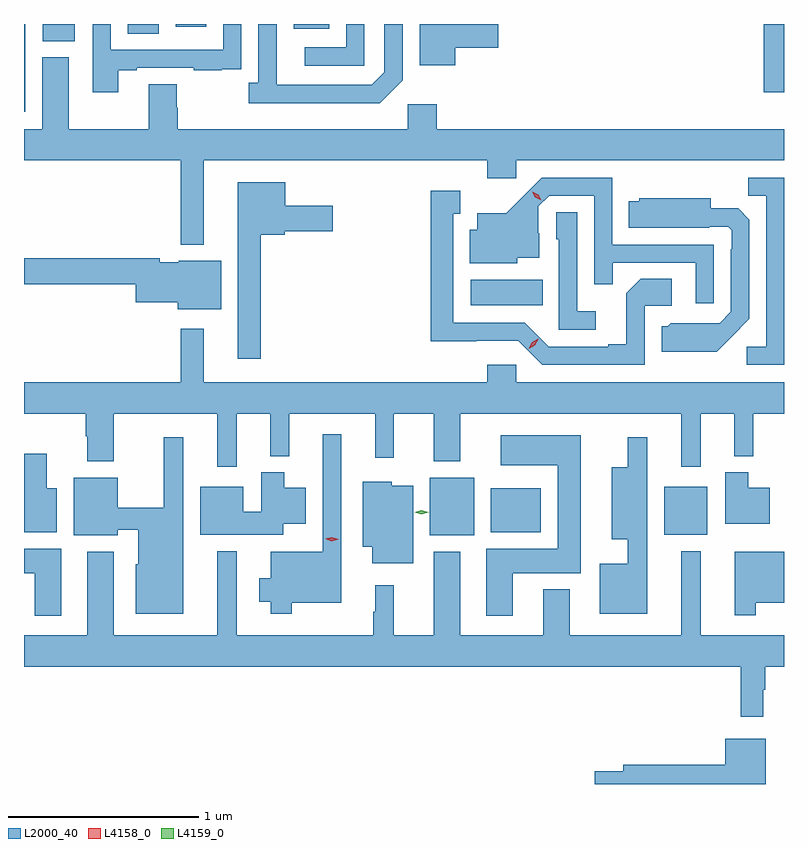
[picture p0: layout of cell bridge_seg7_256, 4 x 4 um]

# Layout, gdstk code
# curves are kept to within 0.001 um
import gdstk
lib = gdstk.Library(unit=1e-6, precision=1e-09)
def R(c, l, rs):  # rectangles x0, y0, x1, y1
    for r in rs: c.add(gdstk.rectangle(r[:2], r[2:], *l))
def P(c, l, *ps):  # polygons
    for p in ps: c.add(gdstk.Polygon(p, *l))
L2000_40 = (2000, 40)
L4158_0 = (4158, 0)
L4159_0 = (4159, 0)

bridge_seg7_256 = lib.new_cell('bridge_seg7_256')
R(bridge_seg7_256, L2000_40, [(203.54,1071.902,203.773,1072.207), (204.773,1071.905,205,1072.159), (203.861,1071.92,204.124,1072.15), (203.754,1073.114,204.134,1073.248), (201.404,1074.132,201.411,1074.594), (205.297,1074.234,205.404,1074.594), (201.503,1074.503,201.67,1074.594), (201.95,1074.544,202.114,1074.594), (202.823,1074.569,203.011,1074.594), (202.202,1074.579,202.363,1074.594)])
P(bridge_seg7_256, L2000_40, [(203.397,1074.297),(203.397,1074.594),(203.301,1074.594),(203.301,1074.339),(203.235,1074.273),(202.735,1074.273),(202.734,1074.594),(202.638,1074.594),(202.638,1074.286),(202.587,1074.286),(202.587,1074.176),(203.276,1074.176)],
  [(203.196,1074.594),(203.1,1074.594),(203.1,1074.471),(202.881,1074.471),(202.881,1074.375),(203.196,1074.375)],
  [(203.674,1074.469),(203.899,1074.469),(203.899,1074.594),(203.486,1074.594),(203.486,1074.377),(203.674,1074.377)],
  [(201.901,1074.351),(201.997,1074.351),(201.997,1074.363),(202.297,1074.363),(202.297,1074.351),(202.445,1074.351),(202.445,1074.357),(202.547,1074.357),(202.547,1074.466),(202.548,1074.466),(202.548,1074.594),(202.452,1074.594),(202.452,1074.459),(201.861,1074.459),(201.861,1074.594),(201.765,1074.594),(201.765,1074.234),(201.901,1074.234)],
  [(202.351,1073.876),(203.843,1073.876),(203.843,1073.781),(203.994,1073.781),(203.994,1073.876),(205.404,1073.876),(205.404,1074.04),(203.576,1074.04),(203.576,1074.172),(203.424,1074.172),(203.424,1074.04),(202.214,1074.04),(202.214,1074.153),(202.209,1074.153),(202.209,1074.278),(202.061,1074.278),(202.061,1074.04),(201.64,1074.04),(201.64,1074.418),(201.5,1074.418),(201.5,1074.04),(201.404,1074.04),(201.404,1073.876),(202.23,1073.876),(202.23,1073.432),(202.351,1073.432)],
  [(205.035,1073.433),(204.501,1073.433),(204.501,1073.784),(204.128,1073.784),(203.941,1073.599),(203.789,1073.599),(203.789,1073.512),(203.75,1073.512),(203.75,1073.336),(204,1073.336),(204,1073.363),(204.115,1073.363),(204.115,1073.492),(204.111,1073.492),(204.111,1073.634),(204.168,1073.691),(204.405,1073.691),(204.405,1073.224),(204.503,1073.224),(204.503,1073.337),(204.939,1073.337),(204.939,1073.124),(205.035,1073.124)],
  [(205.404,1073.784),(205.216,1073.784),(205.216,1073.689),(205.311,1073.689),(205.311,1072.896),(205.209,1072.896),(205.209,1072.8),(205.404,1072.8)],
  [(202.651,1073.486),(202.776,1073.486),(202.776,1073.504),(203.029,1073.504),(203.029,1073.638),(202.78,1073.638),(202.78,1073.761),(202.529,1073.761),(202.529,1072.833),(202.651,1072.833)],
  [(204.672,1073.112),(204.814,1073.112),(204.814,1073.252),(204.649,1073.252),(204.573,1073.176),(204.573,1072.909),(204.479,1072.909),(204.479,1072.896),(204.165,1072.896),(204.039,1073.022),(203.662,1073.022),(203.662,1073.595),(203.701,1073.595),(203.701,1073.716),(203.544,1073.716),(203.544,1072.925),(204.006,1072.926),(204.132,1072.8),(204.672,1072.8)],
  [(205.129,1072.949),(205.221,1073.042),(205.221,1073.564),(205.162,1073.623),(205.018,1073.623),(205.018,1073.677),(204.642,1073.677),(204.642,1073.662),(204.586,1073.662),(204.586,1073.522),(205.01,1073.522),(205.01,1073.526),(205.11,1073.526),(205.128,1073.508),(205.128,1073.408),(205.125,1073.408),(205.125,1073.079),(205.065,1073.019),(204.808,1073.02),(204.792,1073.004),(204.761,1073.004),(204.761,1072.868),(205.049,1072.868)],
  [(204.412,1073.083),(204.315,1073.083),(204.315,1073.603),(204.204,1073.603),(204.204,1073.46),(204.219,1073.46),(204.219,1072.986),(204.412,1072.986)],
  [(202.441,1073.347),(202.218,1073.347),(202.218,1073.341),(202.118,1073.341),(202.118,1073.36),(201.404,1073.36),(201.404,1073.224),(201.992,1073.224),(201.992,1073.129),(202.214,1073.129),(202.214,1073.093),(202.441,1073.093)],
  [(202.525,1072.544),(202.7,1072.544),(202.7,1072.319),(202.799,1072.319),(202.799,1072.544),(203.252,1072.544),(203.252,1072.311),(203.351,1072.311),(203.351,1072.544),(203.561,1072.544),(203.561,1072.292),(203.701,1072.292),(203.701,1072.544),(204.863,1072.544),(204.863,1072.263),(204.967,1072.263),(204.967,1072.544),(205.142,1072.544),(205.142,1072.319),(205.241,1072.319),(205.241,1072.544),(205.404,1072.544),(205.404,1072.708),(203.994,1072.708),(203.994,1072.801),(203.843,1072.801),(203.843,1072.708),(202.351,1072.708),(202.351,1072.99),(202.23,1072.99),(202.23,1072.708),(201.404,1072.708),(201.404,1072.544),(201.73,1072.544),(201.73,1072.424),(201.737,1072.424),(201.737,1072.292),(201.877,1072.292),(201.877,1072.544),(202.421,1072.544),(202.421,1072.263),(202.525,1072.263)],
  [(202.813,1071.548),(203.074,1071.548),(203.074,1071.813),(203.073,1071.813),(203.073,1072.435),(202.977,1072.435),(202.977,1071.817),(202.703,1071.817),(202.703,1071.676),(202.643,1071.676),(202.643,1071.554),(202.703,1071.554),(202.703,1071.491),(202.813,1071.491)],
  [(203.977,1071.704),(204.334,1071.704),(204.334,1072.429),(203.913,1072.429),(203.913,1072.271),(204.212,1072.271),(204.212,1071.832),(203.837,1071.832),(203.837,1071.48),(203.977,1071.48)],
  [(204.685,1072.42),(204.581,1072.42),(204.581,1072.261),(204.497,1072.261),(204.497,1071.881),(204.581,1071.881),(204.581,1071.754),(204.434,1071.754),(204.434,1071.491),(204.685,1071.491)],
  [(202.243,1072.42),(202.139,1072.42),(202.139,1072.049),(201.898,1072.049),(201.898,1072.207),(201.665,1072.207),(201.665,1071.902),(201.898,1071.902),(201.898,1071.932),(202.004,1071.932),(202.004,1071.75),(201.992,1071.75),(201.992,1071.491),(202.243,1071.491)],
  [(201.577,1072.15),(201.523,1072.15),(201.523,1072.333),(201.404,1072.333),(201.404,1071.92),(201.577,1071.92)],
  [(205.33,1072.153),(205.216,1072.153),(205.216,1072.234),(205.094,1072.234),(205.094,1071.965),(205.33,1071.965)],
  [(202.768,1071.965),(202.888,1071.965),(202.888,1072.153),(202.774,1072.153),(202.774,1072.234),(202.652,1072.234),(202.652,1072.028),(202.558,1072.028),(202.558,1072.159),(202.331,1072.159),(202.331,1071.905),(202.768,1071.905)],
  [(203.452,1072.165),(203.34,1072.165),(203.34,1072.186),(203.186,1072.186),(203.186,1071.842),(203.237,1071.842),(203.237,1071.755),(203.452,1071.755)],
  [(201.601,1071.832),(201.404,1071.832),(201.404,1071.704),(201.461,1071.704),(201.461,1071.48),(201.601,1071.48)],
  [(205.294,1071.089),(205.306,1071.089),(205.306,1071.212),(205.404,1071.212),(205.404,1071.376),(204.967,1071.376),(204.967,1071.82),(204.863,1071.82),(204.863,1071.376),(204.277,1071.376),(204.277,1071.619),(204.137,1071.619),(204.137,1071.376),(203.701,1071.376),(203.701,1071.817),(203.561,1071.817),(203.561,1071.376),(203.351,1071.376),(203.351,1071.64),(203.252,1071.64),(203.252,1071.5),(203.241,1071.5),(203.241,1071.376),(202.525,1071.376),(202.525,1071.82),(202.421,1071.82),(202.421,1071.376),(201.877,1071.376),(201.877,1071.817),(201.737,1071.817),(201.737,1071.376),(201.404,1071.376),(201.404,1071.212),(205.177,1071.212),(205.177,1070.949),(205.294,1070.949)],
  [(205.255,1071.548),(205.404,1071.548),(205.404,1071.817),(205.146,1071.817),(205.146,1071.483),(205.255,1071.483)],
  [(205.309,1070.833),(205.094,1070.833),(205.094,1070.696),(204.557,1070.696),(204.557,1070.66),(204.408,1070.66),(204.408,1070.594),(205.309,1070.594)])
P(bridge_seg7_256, L4158_0, [(204.127,1073.667),(204.096,1073.681),(204.078,1073.71),(204.078,1073.711),(204.079,1073.711),(204.11,1073.696),(204.127,1073.667),(204.127,1073.667)],
  [(204.061,1072.886),(204.061,1072.886),(204.079,1072.918),(204.111,1072.937),(204.111,1072.937),(204.111,1072.936),(204.093,1072.904),(204.061,1072.886)],
  [(203.024,1071.872),(202.99,1071.884),(202.989,1071.884),(202.99,1071.884),(203.025,1071.892),(203.06,1071.881),(203.06,1071.881),(203.06,1071.881)])
P(bridge_seg7_256, L4159_0, [(203.496,1072.015),(203.46,1072.025),(203.459,1072.025),(203.46,1072.025),(203.496,1072.035),(203.533,1072.025),(203.533,1072.025),(203.533,1072.025)])

lib.write_gds('bridge_seg7_256.gds')
